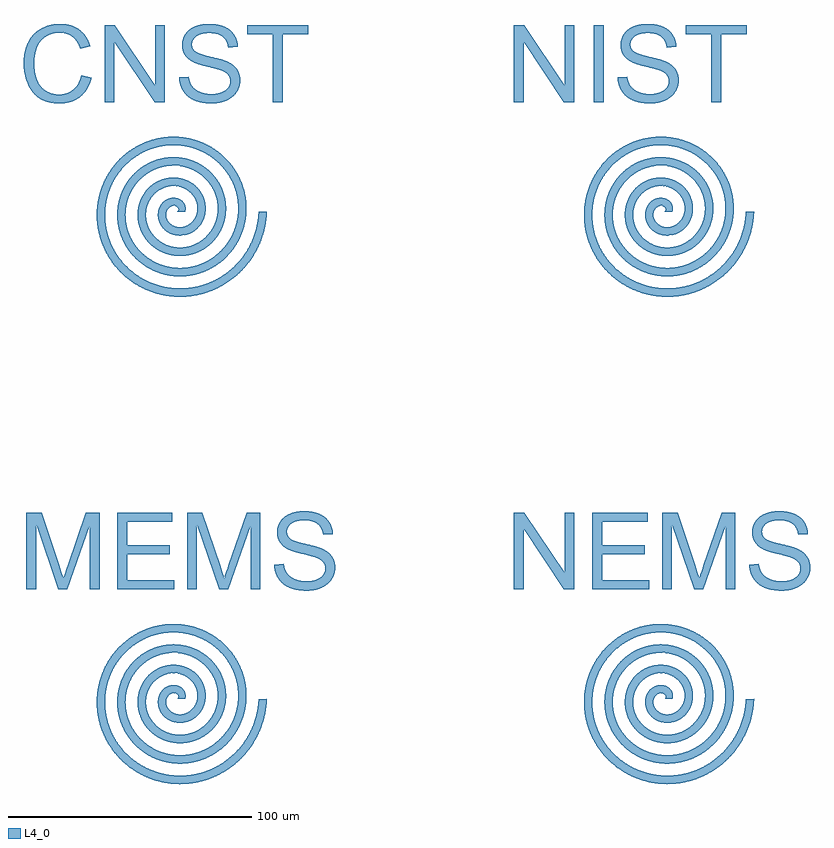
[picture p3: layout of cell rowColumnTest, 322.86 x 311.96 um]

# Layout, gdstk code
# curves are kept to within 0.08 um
import gdstk
lib = gdstk.Library(unit=1e-6, precision=1e-09)
def R(c, l, rs):  # rectangles x0, y0, x1, y1
    for r in rs: c.add(gdstk.rectangle(r[:2], r[2:], *l))
def P(c, l, *ps):  # polygons
    for p in ps: c.add(gdstk.Polygon(p, *l))
L4_0 = (4, 0)

spiral = lib.new_cell('spiral')
P(spiral, L4_0, [(0,0),(0.503,0.218),(0.745,0.767),(3.108,3.217),(3.452,2.426),(3.62,1.585),(3.596,0.739),(3.404,0.009)],
  [(0.745,0.767),(0.55,1.55),(-0.062,2.138),(-0.177,5.54),(0.832,5.223),(1.76,4.703),(2.517,4.033),(3.108,3.217)],
  [(-0.062,2.138),(-1.173,2.433),(-2.366,2.167),(-4.888,4.453),(-3.807,5.093),(-2.605,5.506),(-1.336,5.655),(-0.177,5.54)],
  [(-7.667,-0.469),(-7.343,1.026),(-6.741,2.376),(-5.905,3.53),(-4.888,4.453),(-2.366,2.167),(-3.008,1.769),(-3.577,1.192),(-4.008,0.49),(-4.271,-0.25)],
  [(-5.702,-6.639),(-6.654,-5.284),(-7.333,-3.736),(-7.672,-2.133),(-7.667,-0.469),(-4.271,-0.25),(-4.396,-1.209),(-4.286,-2.277),(-3.998,-3.157),(-3.495,-4.047)],
  [(0.886,-9.781),(-0.952,-9.519),(-2.745,-8.885),(-4.4,-7.873),(-5.702,-6.639),(-3.495,-4.047),(-2.753,-4.894),(-1.808,-5.598),(-0.69,-6.111),(0.561,-6.393)],
  [(1.283,-9.79),(0.886,-9.781),(0.561,-6.393),(1.896,-6.41),(3.325,-6.121),(4.582,-5.579),(5.806,-4.726),(8.465,-6.852),(6.945,-8.074),(5.169,-9.02),(3.29,-9.593)],
  [(8.465,-6.852),(5.806,-4.726),(6.914,-3.54),(7.737,-2.168),(8.28,-0.607),(8.498,0.997),(11.874,1.426),(11.655,-0.94),(11.023,-3.056),(9.958,-5.064)],
  [(8.498,0.997),(8.399,2.661),(7.904,4.492),(7.055,6.148),(5.856,7.64),(7.898,10.363),(9.448,8.619),(10.689,6.547),(11.495,4.321),(11.854,2.029),(11.874,1.426)],
  [(5.856,7.64),(4.339,8.891),(2.458,9.873),(0.563,10.413),(-1.556,10.581),(-2.09,13.943),(0.295,13.868),(2.725,13.356),(4.982,12.429),(7.102,11.051),(7.898,10.363)],
  [(-9.542,6.881),(-12.327,8.838),(-11.283,9.937),(-9.297,11.525),(-7.102,12.734),(-4.63,13.572),(-2.09,13.943),(-1.556,10.581),(-3.826,10.288),(-5.934,9.55),(-7.897,8.375)],
  [(-15.981,-2.875),(-15.983,0.192),(-15.365,3.308),(-14.156,6.187),(-13.351,7.504),(-12.327,8.838),(-9.542,6.881),(-10.963,4.959),(-12.03,2.624),(-12.579,0.186),(-12.638,-2.237)],
  [(-9.67,-14.354),(-12.028,-12.089),(-13.071,-10.743),(-13.967,-9.311),(-14.709,-7.807),(-15.291,-6.249),(-15.743,-4.492),(-15.981,-2.875),(-12.638,-2.237),(-12.19,-4.801),(-11.218,-7.273),(-9.74,-9.544),(-7.8,-11.51)],
  [(1.403,-18.149),(-1.488,-17.928),(-4.443,-17.197),(-7.195,-15.99),(-9.67,-14.354),(-7.8,-11.51),(-5.461,-13.077),(-2.667,-14.204),(0.212,-14.718),(3.04,-14.662),(3.78,-17.984)],
  [(3.78,-17.984),(3.04,-14.662),(4.676,-14.379),(6.142,-13.963),(8.948,-12.683),(11.484,-10.836),(13.538,-8.608),(16.439,-10.389),(15.214,-11.896),(13.854,-13.263),(12.373,-14.478),(10.79,-15.532),(9.121,-16.414),(7.383,-17.12),(5.597,-17.644)],
  [(16.439,-10.389),(13.538,-8.608),(14.449,-7.274),(15.228,-5.843),(15.864,-4.329),(16.389,-2.584),(16.698,-0.942),(16.842,0.735),(16.647,3.962),(19.946,4.804),(20.193,2.771),(20.235,0.736),(20.074,-1.279),(19.714,-3.255),(19.162,-5.172),(18.425,-7.012),(17.513,-8.756)],
  [(16.647,3.962),(16.295,5.648),(15.771,7.302),(15.078,8.908),(14.222,10.448),(13.207,11.905),(12.042,13.263),(10.737,14.507),(9.304,15.621),(10.995,18.576),(13.52,16.569),(15.696,14.228),(17.479,11.611),(18.836,8.784),(19.492,6.816),(19.946,4.804)],
  [(9.304,15.621),(7.754,16.593),(6.103,17.41),(4.366,18.063),(2.559,18.541),(0.7,18.837),(-1.192,18.947),(-3.099,18.865),(-5.002,18.59),(-5.946,21.861),(-2.589,22.305),(0.544,22.261),(3.83,21.732),(6.97,20.726),(9.141,19.702),(10.995,18.576)],
  [(-17.755,9.884),(-20.761,11.483),(-19.401,13.422),(-17.699,15.374),(-15.073,17.694),(-12.356,19.466),(-9.227,20.91),(-5.946,21.861),(-5.002,18.59),(-6.88,18.123),(-8.715,17.465),(-10.486,16.621),(-12.175,15.596),(-13.764,14.4),(-15.234,13.041),(-16.57,11.531)],
  [(-23.725,-7.203),(-24.194,-4.773),(-24.417,-2.321),(-24.393,0.127),(-24.125,2.548),(-23.619,4.916),(-22.883,7.21),(-21.926,9.405),(-20.761,11.483),(-17.755,9.884),(-18.776,8.115),(-19.62,6.241),(-20.275,4.278),(-20.734,2.247),(-20.989,0.167),(-21.034,-1.941),(-20.866,-4.057),(-20.485,-6.158)],
  [(-11.852,-22.988),(-14.015,-21.578),(-16.015,-19.967),(-17.835,-18.173),(-19.458,-16.216),(-20.868,-14.117),(-22.056,-11.9),(-23.01,-9.587),(-23.725,-7.203),(-20.485,-6.158),(-19.891,-8.224),(-19.089,-10.232),(-18.083,-12.161),(-16.881,-13.991),(-15.494,-15.701),(-13.933,-17.274),(-12.212,-18.69),(-10.347,-19.935)],
  [(1.434,-26.533),(-2.005,-26.322),(-5.365,-25.67),(-8.59,-24.594),(-11.852,-22.988),(-10.347,-19.935),(-8.354,-20.992),(-6.254,-21.85),(-4.065,-22.497),(-1.581,-22.954),(0.723,-23.13),(3.046,-23.075),(5.134,-22.826),(7.429,-22.326),(8.574,-25.532),(4.893,-26.295)],
  [(8.574,-25.532),(7.429,-22.326),(9.676,-21.595),(11.85,-20.637),(13.929,-19.459),(15.89,-18.072),(17.713,-16.486),(19.377,-14.717),(20.863,-12.778),(22.155,-10.69),(25.254,-12.1),(23.805,-14.491),(22.133,-16.715),(20.256,-18.75),(18.194,-20.578),(15.971,-22.183),(13.609,-23.551),(11.135,-24.67)],
  [(25.254,-12.1),(22.155,-10.69),(23.237,-8.47),(24.096,-6.141),(24.721,-3.725),(25.103,-1.245),(25.235,1.274),(25.114,3.807),(24.738,6.328),(24.108,8.812),(27.278,10.056),(28.016,7.249),(28.467,4.395),(28.631,1.524),(28.506,-1.335),(28.098,-4.155),(27.413,-6.907),(26.461,-9.564)],
  [(24.108,8.812),(23.229,11.233),(22.105,13.566),(20.747,15.786),(19.165,17.87),(17.373,19.794),(15.388,21.538),(13.227,23.083),(10.911,24.41),(12.225,27.551),(15.603,25.586),(18.902,23.013),(21.599,20.25),(24.06,16.93),(25.898,13.588),(27.278,10.056)],
  [(10.911,24.41),(8.462,25.505),(5.903,26.352),(3.258,26.943),(0.555,27.267),(-2.181,27.32),(-4.921,27.097),(-7.638,26.599),(-10.305,25.828),(-11.646,28.957),(-7.751,30.054),(-3.46,30.656),(0.54,30.672),(4.786,30.111),(8.599,29.07),(12.225,27.551)],
  [(-26.696,11.009),(-29.876,12.225),(-27.888,15.909),(-25.248,19.53),(-22.38,22.515),(-19.167,25.088),(-15.666,27.211),(-11.646,28.957),(-10.305,25.828),(-12.894,24.788),(-15.377,23.489),(-17.73,21.941),(-19.925,20.156),(-21.941,18.151),(-23.755,15.945),(-25.346,13.557)],
  [(-30.565,-13.342),(-31.617,-10.183),(-32.345,-6.948),(-32.744,-3.669),(-32.813,-0.38),(-32.554,2.886),(-31.972,6.096),(-31.076,9.219),(-29.876,12.225),(-26.696,11.009),(-27.79,8.328),(-28.614,5.537),(-29.157,2.665),(-29.411,-0.26),(-29.371,-3.21),(-29.034,-6.154),(-28.402,-9.062),(-27.478,-11.905)],
  [(-12.1,-32.223),(-15.197,-30.734),(-18.118,-28.95),(-20.836,-26.891),(-23.325,-24.58),(-25.561,-22.041),(-27.524,-19.302),(-29.197,-16.393),(-30.565,-13.342),(-27.478,-11.905),(-26.269,-14.654),(-24.785,-17.28),(-23.037,-19.755),(-21.042,-22.053),(-18.818,-24.149),(-16.384,-26.02),(-13.764,-27.646),(-10.983,-29.007)],
  [(1.426,-34.925),(-2.06,-34.76),(-5.499,-34.249),(-8.856,-33.399),(-12.1,-32.223),(-10.983,-29.007),(-8.067,-30.087),(-5.044,-30.874),(-1.945,-31.357),(1.2,-31.528),(4.36,-31.383),(7.503,-30.921),(10.597,-30.144),(13.61,-29.056),(15.142,-32.097),(11.817,-33.322),(8.4,-34.206),(4.924,-34.741)],
  [(15.142,-32.097),(13.61,-29.056),(16.511,-27.667),(19.271,-25.988),(21.859,-24.033),(24.248,-21.82),(26.413,-19.369),(28.33,-16.704),(29.978,-13.848),(31.337,-10.83),(34.586,-11.847),(33.109,-15.185),(31.313,-18.347),(29.216,-21.302),(26.844,-24.023),(24.222,-26.485),(21.377,-28.663),(18.339,-30.54)],
  [(34.586,-11.847),(31.337,-10.83),(32.3,-7.998),(32.941,-5.409),(33.375,-2.768),(33.596,-0.092),(37,0),(36.775,-2.948),(36.243,-6.221),(35.526,-9.071)])

rowcolumntest = lib.new_cell('rowColumnTest')
R(rowcolumntest, L4_0, [(241.109,-5,245.266,26.5)])
P(rowcolumntest, L4_0, [(40.359,-5),(40.359,26.5),(44.625,26.5),(61.172,1.766),(61.172,26.5),(65.172,26.5),(65.172,-5),(60.891,-5),(44.344,19.75),(44.344,-5)],
  [(109.406,-5),(109.406,22.781),(99.031,22.781),(99.031,26.5),(124,26.5),(124,22.781),(113.578,22.781),(113.578,-5)],
  [(22,-5.531),(18.722,-5.287),(15.775,-4.508),(14.539,-3.946),(13.318,-3.195),(12.209,-2.31),(11.208,-1.294),(10.315,-0.147),(9.529,1.131),(8.203,4.286),(7.422,7.68),(7.189,11.291),(7.498,14.776),(8.291,17.784),(9.566,20.459),(11.266,22.706),(12.316,23.697),(13.579,24.631),(16.2,25.963),(19.032,26.764),(22.21,27.031),(24.329,26.881),(26.532,26.392),(28.301,25.678),(30.008,24.625),(31.499,23.3),(32.744,21.73),(33.745,19.917),(34.5,17.859),(30.391,16.891),(29.338,19.375),(27.958,21.244),(27.08,21.995),(26.247,22.51),(24.185,23.248),(21.969,23.469),(19.617,23.263),(17.634,22.682),(15.906,21.727),(14.281,20.253),(13.063,18.445),(12.244,16.319),(11.648,13.507),(11.489,10.502),(11.742,7.46),(12.382,4.756),(13.323,2.59),(14.152,1.377),(15.011,0.47),(15.993,-0.293),(17.237,-0.989),(18.538,-1.499),(19.891,-1.824),(21.297,-1.963),(22.931,-1.898),(24.419,-1.61),(25.789,-1.101),(26.962,-0.426),(28.099,0.511),(29.071,1.665),(29.774,2.84),(30.386,4.287),(30.875,6.047),(35.031,4.984),(34.245,2.574),(33.197,0.467),(31.979,-1.233),(30.426,-2.751),(28.644,-3.951),(26.671,-4.815),(24.366,-5.363)],
  [(84.406,-5.531),(81.391,-5.357),(78.97,-4.89),(76.878,-4.129),(74.944,-2.96),(73.362,-1.435),(72.143,0.424),(71.401,2.308),(71.013,4.539),(70.984,5.125),(74.906,5.469),(75.187,3.938),(75.595,2.725),(76.211,1.586),(76.96,0.699),(77.93,-0.076),(79.25,-0.8),(80.634,-1.313),(82.279,-1.665),(85.232,-1.763),(86.718,-1.572),(88.074,-1.213),(89.177,-0.75),(90.182,-0.121),(91.026,0.707),(91.571,1.571),(92,3.01),(91.93,4.523),(91.373,5.857),(90.291,6.983),(89.152,7.655),(87.756,8.206),(79.84,10.302),(76.883,11.384),(75.474,12.212),(74.279,13.204),(73.359,14.329),(72.662,15.69),(72.226,17.56),(72.294,19.672),(72.886,21.62),(73.992,23.437),(75.455,24.832),(77.172,25.823),(79.348,26.57),(81.905,26.98),(84.549,26.992),(87.133,26.635),(89.445,25.906),(91.28,24.912),(92.766,23.617),(93.979,21.886),(94.715,20.092),(95.091,17.968),(95.109,17.625),(91.109,17.328),(90.893,18.564),(90.529,19.66),(90.061,20.552),(89.415,21.379),(88.621,22.065),(87.662,22.606),(86.621,22.979),(85.337,23.239),(82.306,23.326),(80.891,23.165),(79.672,22.872),(78.649,22.447),(77.823,21.89),(77.095,21.154),(76.582,20.346),(76.23,19.12),(76.279,17.827),(76.728,16.668),(77.587,15.707),(78.707,15.085),(80.217,14.526),(88.199,12.463),(91.175,11.348),(92.803,10.347),(94.091,9.191),(95.042,7.881),(95.719,6.285),(96.046,4.049),(95.81,1.896),(94.946,-0.284),(93.588,-2.134),(91.893,-3.525),(89.618,-4.652),(87.036,-5.328)],
  [(208.359,-5),(208.359,26.5),(212.625,26.5),(229.172,1.766),(229.172,26.5),(233.172,26.5),(233.172,-5),(228.891,-5),(212.344,19.75),(212.344,-5)],
  [(289.406,-5),(289.406,22.781),(279.031,22.781),(279.031,26.5),(304,26.5),(304,22.781),(293.578,22.781),(293.578,-5)],
  [(264.406,-5.531),(261.391,-5.357),(258.97,-4.89),(256.878,-4.129),(254.944,-2.96),(253.362,-1.435),(252.143,0.424),(251.401,2.308),(251.013,4.539),(250.984,5.125),(254.906,5.469),(255.187,3.938),(255.595,2.725),(256.211,1.586),(256.96,0.699),(257.93,-0.076),(259.25,-0.8),(260.634,-1.313),(262.279,-1.665),(265.232,-1.763),(266.718,-1.572),(268.074,-1.213),(269.177,-0.75),(270.182,-0.121),(271.026,0.707),(271.571,1.571),(272,3.01),(271.93,4.523),(271.373,5.857),(270.291,6.983),(269.152,7.655),(267.756,8.206),(259.84,10.302),(256.883,11.384),(255.474,12.212),(254.279,13.204),(253.359,14.329),(252.662,15.69),(252.226,17.56),(252.294,19.672),(252.886,21.62),(253.992,23.437),(255.455,24.832),(257.172,25.823),(259.348,26.57),(261.905,26.98),(264.549,26.992),(267.133,26.635),(269.445,25.906),(271.28,24.912),(272.766,23.617),(273.979,21.886),(274.715,20.092),(275.091,17.968),(275.109,17.625),(271.109,17.328),(270.893,18.564),(270.529,19.66),(270.061,20.552),(269.415,21.379),(268.621,22.065),(267.662,22.606),(266.621,22.979),(265.337,23.239),(262.306,23.326),(260.891,23.165),(259.672,22.872),(258.649,22.447),(257.823,21.89),(257.095,21.154),(256.582,20.346),(256.23,19.12),(256.279,17.827),(256.728,16.668),(257.587,15.707),(258.707,15.085),(260.217,14.526),(268.199,12.463),(271.175,11.348),(272.803,10.347),(274.091,9.191),(275.042,7.881),(275.719,6.285),(276.046,4.049),(275.81,1.896),(274.946,-0.284),(273.588,-2.134),(271.893,-3.525),(269.618,-4.652),(267.036,-5.328)],
  [(8.266,-205),(8.266,-173.5),(14.547,-173.5),(23.5,-200.469),(32.719,-173.5),(38.328,-173.5),(38.328,-205),(34.313,-205),(34.313,-178.641),(25.156,-205),(21.391,-205),(12.281,-178.187),(12.281,-205)],
  [(45.484,-205),(45.484,-173.5),(68.25,-173.5),(68.25,-177.219),(49.656,-177.219),(49.656,-186.859),(67.078,-186.859),(67.078,-190.562),(49.656,-190.562),(49.656,-201.281),(68.984,-201.281),(68.984,-205)],
  [(74.266,-205),(74.266,-173.5),(80.547,-173.5),(89.5,-200.469),(98.719,-173.5),(104.328,-173.5),(104.328,-205),(100.313,-205),(100.313,-178.641),(91.156,-205),(87.391,-205),(78.281,-178.187),(78.281,-205)],
  [(123.406,-205.531),(120.391,-205.357),(117.97,-204.89),(115.878,-204.129),(113.944,-202.96),(112.362,-201.435),(111.143,-199.576),(110.401,-197.692),(110.013,-195.461),(109.984,-194.875),(113.906,-194.531),(114.187,-196.062),(114.595,-197.275),(115.211,-198.414),(115.96,-199.301),(116.93,-200.076),(118.25,-200.8),(119.634,-201.313),(121.279,-201.665),(124.232,-201.763),(125.718,-201.572),(127.074,-201.213),(128.177,-200.75),(129.182,-200.121),(130.026,-199.293),(130.571,-198.429),(131,-196.99),(130.93,-195.477),(130.373,-194.143),(129.291,-193.017),(128.152,-192.345),(126.756,-191.794),(118.84,-189.698),(115.883,-188.616),(114.474,-187.788),(113.279,-186.796),(112.359,-185.671),(111.662,-184.31),(111.226,-182.44),(111.294,-180.328),(111.886,-178.38),(112.992,-176.563),(114.455,-175.168),(116.172,-174.177),(118.348,-173.43),(120.905,-173.02),(123.549,-173.008),(126.133,-173.365),(128.445,-174.094),(130.28,-175.088),(131.766,-176.383),(132.979,-178.114),(133.715,-179.908),(134.091,-182.032),(134.109,-182.375),(130.109,-182.672),(129.893,-181.436),(129.529,-180.34),(129.061,-179.448),(128.415,-178.621),(127.621,-177.935),(126.662,-177.394),(125.621,-177.021),(124.337,-176.761),(121.306,-176.674),(119.891,-176.835),(118.672,-177.128),(117.649,-177.553),(116.823,-178.11),(116.095,-178.846),(115.582,-179.654),(115.23,-180.88),(115.279,-182.173),(115.728,-183.332),(116.587,-184.293),(117.707,-184.915),(119.217,-185.474),(127.199,-187.537),(130.175,-188.652),(131.803,-189.653),(133.091,-190.809),(134.042,-192.119),(134.719,-193.715),(135.046,-195.951),(134.81,-198.104),(133.946,-200.284),(132.588,-202.134),(130.893,-203.525),(128.618,-204.652),(126.036,-205.328)],
  [(208.359,-205),(208.359,-173.5),(212.625,-173.5),(229.172,-198.234),(229.172,-173.5),(233.172,-173.5),(233.172,-205),(228.891,-205),(212.344,-180.25),(212.344,-205)],
  [(240.484,-205),(240.484,-173.5),(263.25,-173.5),(263.25,-177.219),(244.656,-177.219),(244.656,-186.859),(262.078,-186.859),(262.078,-190.562),(244.656,-190.562),(244.656,-201.281),(263.984,-201.281),(263.984,-205)],
  [(269.266,-205),(269.266,-173.5),(275.547,-173.5),(284.5,-200.469),(293.719,-173.5),(299.328,-173.5),(299.328,-205),(295.313,-205),(295.313,-178.641),(286.156,-205),(282.391,-205),(273.281,-178.187),(273.281,-205)],
  [(318.406,-205.531),(315.391,-205.357),(312.97,-204.89),(310.878,-204.129),(308.944,-202.96),(307.362,-201.435),(306.143,-199.576),(305.401,-197.692),(305.013,-195.461),(304.984,-194.875),(308.906,-194.531),(309.187,-196.062),(309.595,-197.275),(310.211,-198.414),(310.96,-199.301),(311.93,-200.076),(313.25,-200.8),(314.634,-201.313),(316.279,-201.665),(319.232,-201.763),(320.718,-201.572),(322.074,-201.213),(323.177,-200.75),(324.182,-200.121),(325.026,-199.293),(325.571,-198.429),(326,-196.99),(325.93,-195.477),(325.373,-194.143),(324.291,-193.017),(323.152,-192.345),(321.756,-191.794),(313.84,-189.698),(310.883,-188.616),(309.474,-187.788),(308.279,-186.796),(307.359,-185.671),(306.662,-184.31),(306.226,-182.44),(306.294,-180.328),(306.886,-178.38),(307.992,-176.563),(309.455,-175.168),(311.172,-174.177),(313.348,-173.43),(315.905,-173.02),(318.549,-173.008),(321.133,-173.365),(323.445,-174.094),(325.28,-175.088),(326.766,-176.383),(327.979,-178.114),(328.715,-179.908),(329.091,-182.032),(329.109,-182.375),(325.109,-182.672),(324.893,-181.436),(324.529,-180.34),(324.061,-179.448),(323.415,-178.621),(322.621,-177.935),(321.662,-177.394),(320.621,-177.021),(319.337,-176.761),(316.306,-176.674),(314.891,-176.835),(313.672,-177.128),(312.649,-177.553),(311.823,-178.11),(311.095,-178.846),(310.582,-179.654),(310.23,-180.88),(310.279,-182.173),(310.728,-183.332),(311.587,-184.293),(312.707,-184.915),(314.217,-185.474),(322.199,-187.537),(325.175,-188.652),(326.803,-189.653),(328.091,-190.809),(329.042,-192.119),(329.719,-193.715),(330.046,-195.951),(329.81,-198.104),(328.946,-200.284),(327.588,-202.134),(325.893,-203.525),(323.618,-204.652),(321.036,-205.328)])
r = gdstk.Reference(spiral, (70,-250)); r.repetition = gdstk.Repetition(2, 2, v1=(200,0), v2=(0,200)); rowcolumntest.add(r)

lib.write_gds('rowColumnTest.gds')
